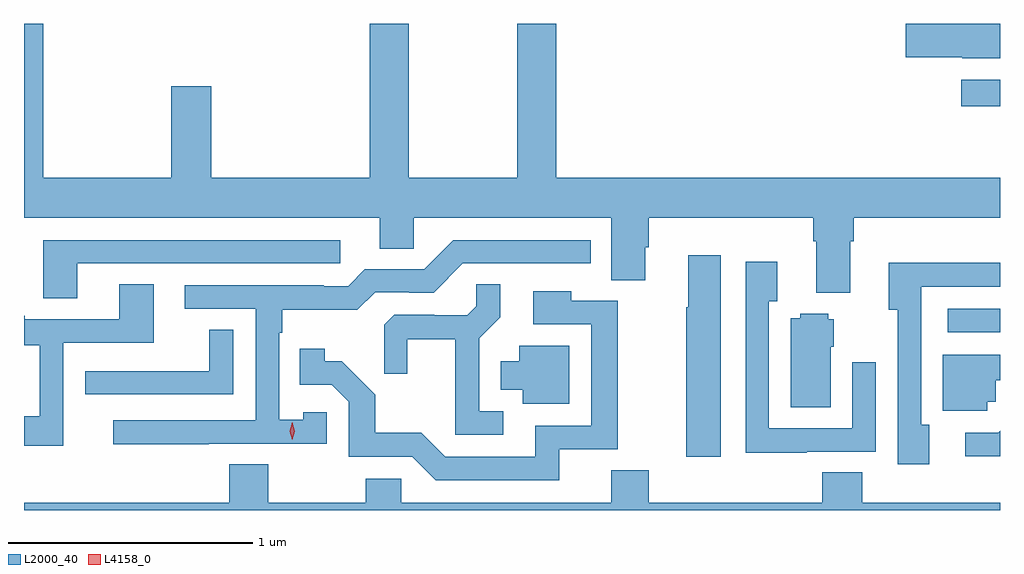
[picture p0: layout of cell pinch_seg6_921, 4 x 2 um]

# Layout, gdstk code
import gdstk
lib = gdstk.Library(unit=1e-6, precision=1e-09)
def R(c, l, rs):  # rectangles x0, y0, x1, y1
    for r in rs: c.add(gdstk.rectangle(r[:2], r[2:], *l))
def P(c, l, *ps):  # polygons
    for p in ps: c.add(gdstk.Polygon(p, *l))
L2000_40 = (2000, 40)
L4158_0 = (4158, 0)

pinch_seg6_921 = lib.new_cell('pinch_seg6_921')
R(pinch_seg6_921, L2000_40, [(336.021,916.23,336.236,916.326), (336.078,917.157,336.236,917.265)])
P(pinch_seg6_921, L2000_40, [(336.236,917.495),(335.85,917.495),(335.85,917.357),(336.081,917.357),(336.081,917.354),(336.236,917.354)],
  [(335.623,916.604),(335.636,916.604),(335.636,916.7),(336.236,916.7),(336.236,916.864),(334.418,916.864),(334.418,917.495),(334.258,917.495),(334.258,916.864),(333.813,916.864),(333.813,917.495),(333.653,917.495),(333.653,916.864),(333.004,916.864),(333.004,917.239),(332.84,917.239),(332.84,916.864),(332.315,916.864),(332.315,917.495),(332.236,917.495),(332.236,916.7),(333.695,916.7),(333.695,916.573),(333.834,916.573),(333.834,916.7),(334.643,916.7),(334.643,916.444),(334.783,916.444),(334.783,916.578),(334.796,916.578),(334.796,916.7),(335.471,916.7),(335.471,916.604),(335.483,916.604),(335.483,916.391),(335.623,916.391)],
  [(332.455,916.512),(333.532,916.512),(333.532,916.608),(332.315,916.608),(332.315,916.369),(332.455,916.369)],
  [(332.993,915.774),(333.477,915.774),(333.477,915.903),(333.381,915.903),(333.381,915.871),(333.282,915.871),(333.282,916.229),(333.295,916.229),(333.295,916.322),(333.602,916.322),(333.675,916.395),(333.814,916.395),(333.814,916.392),(333.915,916.392),(334.035,916.512),(334.558,916.512),(334.558,916.608),(333.996,916.608),(333.876,916.488),(333.633,916.488),(333.564,916.419),(333.464,916.419),(333.464,916.422),(332.895,916.422),(332.895,916.326),(333.186,916.326),(333.186,915.87),(332.601,915.87),(332.601,915.772),(332.993,915.772)],
  [(335.092,916.546),(334.958,916.546),(334.958,916.333),(334.951,916.333),(334.951,915.72),(335.092,915.72)],
  [(335.443,915.741),(335.727,915.741),(335.727,916.108),(335.631,916.108),(335.631,915.837),(335.289,915.837),(335.289,916.358),(335.323,916.358),(335.323,916.519),(335.193,916.519),(335.193,915.737),(335.443,915.737)],
  [(335.947,915.85),(335.913,915.85),(335.913,916.416),(336.236,916.416),(336.236,916.514),(335.78,916.514),(335.78,916.322),(335.817,916.322),(335.817,915.69),(335.947,915.69)],
  [(332.397,916.188),(332.767,916.188),(332.767,916.427),(332.627,916.427),(332.627,916.284),(332.239,916.284),(332.239,916.297),(332.236,916.297),(332.236,916.176),(332.3,916.176),(332.3,915.885),(332.236,915.885),(332.236,915.765),(332.397,915.765)],
  [(334.201,915.906),(334.101,915.906),(334.101,916.205),(334.187,916.291),(334.187,916.427),(334.089,916.427),(334.089,916.336),(334.052,916.299),(333.918,916.299),(333.918,916.302),(333.753,916.302),(333.712,916.261),(333.712,916.059),(333.806,916.059),(333.806,916.202),(334.004,916.202),(334.004,915.81),(334.201,915.81)],
  [(334.43,915.75),(334.669,915.75),(334.669,916.359),(334.479,916.359),(334.479,916.399),(334.323,916.399),(334.323,916.263),(334.56,916.263),(334.56,915.846),(334.331,915.846),(334.331,915.72),(333.963,915.72),(333.865,915.819),(333.676,915.819),(333.676,915.974),(333.538,916.112),(333.468,916.112),(333.468,916.162),(333.367,916.162),(333.367,916.014),(333.498,916.014),(333.567,915.945),(333.567,915.72),(333.828,915.72),(333.924,915.624),(334.43,915.624)],
  [(335.542,916.17),(335.554,916.17),(335.554,916.284),(335.532,916.284),(335.532,916.306),(335.418,916.306),(335.418,916.288),(335.378,916.288),(335.378,915.922),(335.542,915.922)],
  [(333.093,916.241),(332.995,916.241),(332.995,916.071),(332.599,916.071),(332.599,916.07),(332.487,916.07),(332.487,915.975),(333.093,915.975)],
  [(334.471,916.174),(334.265,916.174),(334.265,916.111),(334.19,916.111),(334.19,915.995),(334.28,915.995),(334.28,915.938),(334.471,915.938)],
  [(336.183,915.945),(336.219,915.945),(336.219,916.034),(336.236,916.034),(336.236,916.137),(336.002,916.137),(336.002,915.909),(336.183,915.909)],
  [(336.236,915.827),(336.228,915.819),(336.093,915.819),(336.093,915.722),(336.236,915.722)],
  [(336.236,915.532),(335.672,915.532),(335.672,915.656),(335.507,915.656),(335.507,915.532),(334.796,915.532),(334.796,915.665),(334.643,915.665),(334.643,915.532),(333.783,915.532),(333.783,915.63),(333.637,915.63),(333.637,915.532),(333.237,915.532),(333.237,915.689),(333.077,915.689),(333.077,915.532),(332.236,915.532),(332.236,915.5),(336.236,915.5)])
P(pinch_seg6_921, L4158_0, [(333.335,915.789),(333.335,915.789),(333.325,915.825),(333.335,915.861),(333.335,915.861),(333.335,915.861),(333.345,915.825),(333.335,915.789)])

lib.write_gds('pinch_seg6_921.gds')
